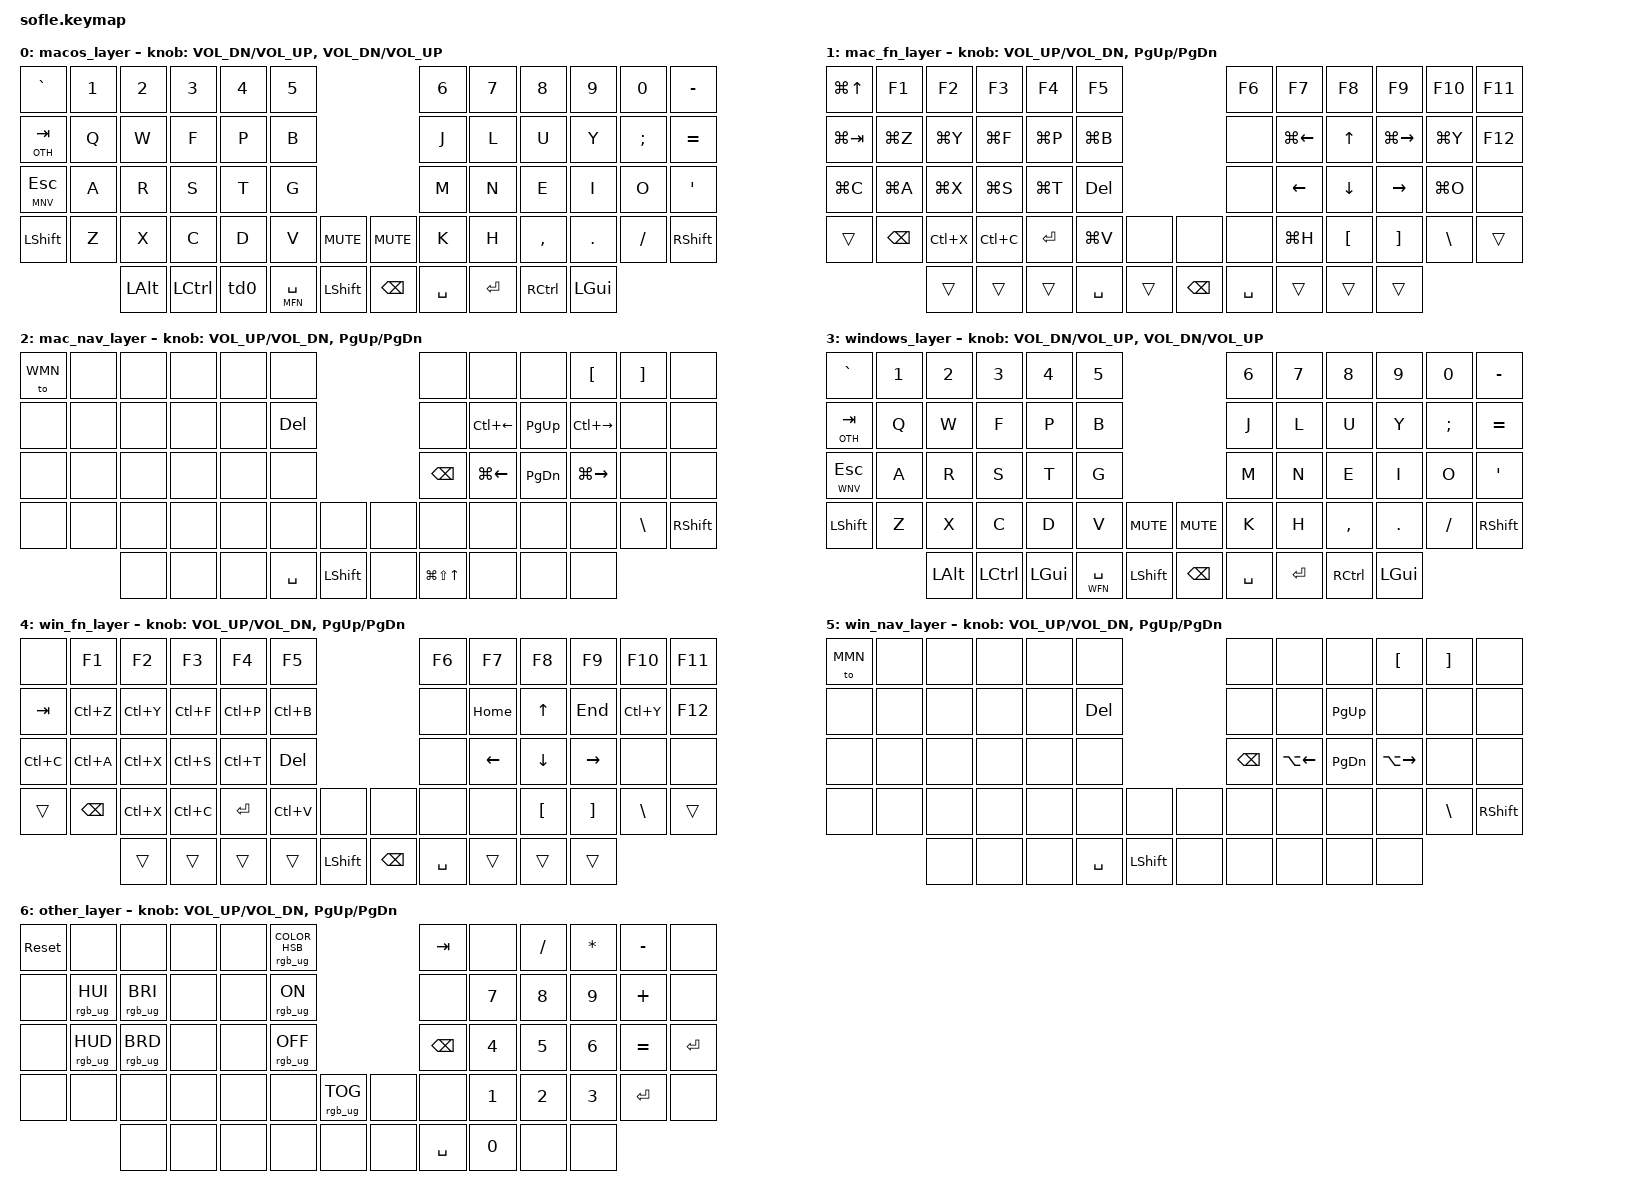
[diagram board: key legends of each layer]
/*
 * Copyright (c) 2020 The ZMK Contributors
 *
 * SPDX-License-Identifier: MIT
 */

#include <behaviors.dtsi>
#include <dt-bindings/zmk/keys.h>
#include <dt-bindings/zmk/bt.h>
#include <dt-bindings/zmk/ext_power.h>
#include <dt-bindings/zmk/rgb.h>

//                <&mo 1>,
//                <&kp SPACE>;

// ----- Notes -------
// Mod tap   = &mt LSHFT SPACE  (shift when held, space when tapped)
// Layer tap = &lt 3 TAB        (layer 3 when held, tab otherwise)


#define MO_TOG(layer) &mo_tog layer layer   // Macro to apply momentary-layer-on-hold/toggle-layer-on-tap to a specific layer

#define MMN 0  // Mac main
#define MFN 1  // Mac functions
#define MNV 2  // Mac navigation

#define WMN 3  // Windows main
#define WFN 4  // Windows functions
#define WNV 5  // Windows navigation

#define OTH 6  // Others functions

/ {
    behaviors {
        mo_tog: behavior_mo_tog {
            compatible = "zmk,behavior-hold-tap";
            #binding-cells = <2>;
            flavor = "hold-preferred";
            //flavor = "tap-unless-interrupted";
            tapping-term-ms = <200>;
            bindings = <&mo>, <&kp>;
        };
        td0: tap_dance_0 {
            compatible = "zmk,behavior-tap-dance";
            #binding-cells = <0>;
            tapping-term-ms = <250>;
            bindings =
              <&kp LGUI>,
              <&kp LC(UP)>;
        };
    };
    keymap {
        compatible = "zmk,keymap";



//----------------------------------------------------------------------------------------------------------------------------------------------------------------------
//----------------------------------------------------------------------------------------------------------------------------------------------------------------------
//----------------------------------------------------------------------------------------------------------------------------------------------------------------------



        macos_layer {
//                                               -------------------------------- Layer 0 - MacOS ------------------------------
//                       .-----------------------------------------------.                                 .-----------------------------------------------.
//                       |  `    |   1   |   2   |   3   |   4   |   5   |                                 |  6    |  7    |  8    |   9   |   0   |  -/_  |
//                       |-------+-------+-------+-------+-------+-------|                                 |-------+-------+-------+-------+-------+-------|
//                       | L5/TB |   Q   |   W   |   F   |   P   |  B    |                                 |  J    |   L   |   U   |   Y   |   ;   |  +/=  |
//                       |-------+-------+-------+-------+-------+-------|                                 |-------+-------+-------+-------+-------+-------|
//                       | L4/MC |   A   |   R   |   S   |   T   |  G    | .------.               .------. |  M    |   N   |   E   |   I   |   O   |   '   |
//                       |-------+-------+-------+-------+-------+-------| | MUTE |               | MUTE | |-------+-------+-------+-------+-------+-------|
//                       | SHIFT |   Z   |   X   |   C   |   D   |  V    | '------'               '------' |  K    |   H   |   ,   |   .   |   /   | SHIFT |
//                       '-------+-------+-------+-------+-------+-------+---------.            .----------+-------+-------+-------+-------+-------+-------'
//                                       |  ALT  |  CTRL |  GUI  |  MO4  |  SHIFT  /             \  BKSPC  | SPACE | ENTER |  CTR  |  GUI  |
//                                       |       |       |  MCTR | SPACE |        /               \        |       |       |       |       |
//                                       '---------------------------------------'                 '---------------------------------------'
            bindings = <
&kp GRAVE     &kp N1   &kp N2       &kp N3       &kp N4        &kp N5                                           &kp N6          &kp N7        &kp N8       &kp N9       &kp N0       &kp MINUS
&lt OTH TAB   &kp Q    &kp W        &kp F        &kp P         &kp B                                            &kp J           &kp L         &kp U        &kp Y        &kp SEMI     &kp EQL
&lt MNV ESC   &kp A    &kp R        &kp S        &kp T         &kp G                                            &kp M           &kp N         &kp E        &kp I        &kp O        &kp SQT
&kp LSHFT     &kp Z    &kp X        &kp C        &kp D         &kp V              &kp C_MUTE       &kp C_MUTE   &kp K           &kp H         &kp COMMA    &kp DOT      &kp FSLH     &kp RSHFT
                       &kp LALT     &kp LCTRL    &td0          &mo_tog MFN SPACE  &kp LSHFT        &kp BSPC     &kp SPACE       &kp ENTER     &kp RCTRL    &kp LGUI
            >;

            sensor-bindings = <&inc_dec_kp C_VOL_DN C_VOL_UP &inc_dec_kp C_VOL_DN C_VOL_UP>;
        };


        mac_fn_layer {
//                                           -------------------------------- Layer 1 - MacOS Functions ------------------------------
//                       .-----------------------------------------------.                                 .-----------------------------------------------.
//                       | MCTRL |  FN1  |  FN2  |  FN3  |  FN4  |  FN5  |                                 |  FN6  |  FN7  |  FN8  |  FN9  |  FN10 | FN11  |
//                       |-------+-------+-------+-------+-------+-------|                                 |-------+-------+-------+-------+-------+-------|
//                       | G-TAB |  UNDO |  REDO |  C-F  |  C-P  |  C-B  |                                 |       |  HOME |   ^   |  END  |  REDO | FN12  |
//                       |-------+-------+-------+-------+-------+-------|                                 |-------+-------+-------+-------+-------+-------|
//                       |  CPY  | CTR-A |  CUT  |  SAVE | N-TAB |  DEL  | .------.               .------. |       |  <-   |   v   |   ->  |  C-O  | ENTER |
//                       |-------+-------+-------+-------+-------+-------| |      |               |      | |-------+-------+-------+-------+-------+-------|
//                       | SHIFT | BKSPC | CTR-X | CTR-C | ENTER | PASTE | '------'               '------' |       |  C-H  |  [/{  |  ]/}  |  \ |  |       |
//                       '-------+-------+-------+-------+-------+-------+---------.            .----------+-------+-------+-------+-------+-------+-------'
//                                       |  ALT  |  GUI  |  CTRL |       |  SHIFT  /             \  BKSPC  |       |       |       |       |
//                                       |       |       |       |       |        /               \        |       |       |       |       |
//                                       '---------------------------------------'                 '---------------------------------------'
            bindings = <
&kp LG(UP)  &kp F1       &kp F2       &kp F3         &kp F4       &kp F5                                        &kp F6       &kp F7       &kp F8          &kp F9        &kp F10     &kp F11
&kp LG(TAB) &kp LG(Z)    &kp LG(Y)    &kp LG(F)      &kp LG(P)    &kp LG(B)                                     &none        &kp LG(LEFT) &kp UP          &kp LG(RIGHT) &kp LG(Y)   &kp F12
&kp LG(C)   &kp LG(A)    &kp LG(X)    &kp LG(S)      &kp LG(T)    &kp DEL                                       &none        &kp LEFT     &kp DOWN        &kp RIGHT     &kp LG(O)   &none
&trans      &kp BSPC     &kp LC(X)    &kp LC(C)      &kp ENTER    &kp LG(V)    &none                  &none     &none        &kp LG(H)    &kp LBKT        &kp RBKT      &kp BSLH    &trans
                         &trans       &trans         &trans       &kp SPACE    &trans                 &kp BSPC  &kp SPACE    &trans       &trans          &trans
            >;

            sensor-bindings = <&inc_dec_kp C_VOL_UP C_VOL_DN &inc_dec_kp PG_UP PG_DN>;
        };


        mac_nav_layer {
//                                              -------------------------------- Layer 2 - MacOS Navigation ------------------------------
//                       .-----------------------------------------------.                                 .-----------------------------------------------.
//                       |  WIN  |       |       |       |       |       |                                 |       |       |       |  [/{  |  ]/}  |       |
//                       |-------+-------+-------+-------+-------+-------|                                 |-------+-------+-------+-------+-------+-------|
//                       |       |       |       |       |       |  DEL  |                                 |       | WSP-L |  PGu  | WSP-R |       |       |
//                       |-------+-------+-------+-------+-------+-------|                                 |-------+-------+-------+-------+-------+-------|
//                       |       |       |       |       |       |       | .------.               .------. | BKSPC |  BACK |  PGd  |  FWD  |       |       |
//                       |-------+-------+-------+-------+-------+-------| |      |               |      | |-------+-------+-------+-------+-------+-------|
//                       |       |       |       |       |       |       | '------'               '------' |       |       |       |       |   \   | SHIFT |
//                       '-------+-------+-------+-------+-------+-------+---------.            .----------+-------+-------+-------+-------+-------+-------'
//                                       |       |       |       | SPACE |  SHIFT  /             \         | MCTR  |       |       |       |
//                                       |       |       |       |       |        /               \        |       |       |       |       |
//                                       '---------------------------------------'                 '---------------------------------------'

            bindings = <
&to WMN     &none        &none        &none          &none        &none                                         &none          &none        &none           &kp LBKT      &kp RBKT    &none
&none       &none        &none        &none          &none        &kp DEL                                       &none          &kp LC(LEFT) &kp PG_UP       &kp LC(RIGHT) &none       &none
&none       &none        &none        &none          &none        &none                                         &kp BSPC       &kp LG(LEFT) &kp PG_DN       &kp LG(RIGHT) &none       &none
&none       &none        &none        &none          &none        &none        &none                  &none     &none          &none        &none           &none         &kp BSLH    &kp RSHFT
                         &none        &none          &none        &kp SPACE    &kp LSHFT              &none     &kp LG(LS(UP)) &none        &none           &none
            >;

            sensor-bindings = <&inc_dec_kp C_VOL_UP C_VOL_DN &inc_dec_kp PG_UP PG_DN>;
        };


//----------------------------------------------------------------------------------------------------------------------------------------------------------------------
//----------------------------------------------------------------------------------------------------------------------------------------------------------------------
//----------------------------------------------------------------------------------------------------------------------------------------------------------------------


        windows_layer {
//                                               -------------------------------- Layer 3 - Windows ------------------------------
//                       .-----------------------------------------------.                                 .-----------------------------------------------.
//                       |  `    |   1   |   2   |   3   |   4   |   5   |                                 |  6    |  7    |  8    |   9   |   0   |  -/_  |
//                       |-------+-------+-------+-------+-------+-------|                                 |-------+-------+-------+-------+-------+-------|
//                       | L6/TB |   Q   |   W   |   F   |   P   |  B    |                                 |  J    |   L   |   U   |   Y   |   ;   |  +/=  |
//                       |-------+-------+-------+-------+-------+-------|                                 |-------+-------+-------+-------+-------+-------|
//                       | L2/ESC|   A   |   R   |   S   |   T   |  G    | .------.               .------. |  M    |  N    |   E   |   I   |   O   |   '   |
//                       |-------+-------+-------+-------+-------+-------| | MUTE |               | MUTE | |-------+-------+-------+-------+-------+-------|
//                       | SHIFT |   Z   |   X   |   C   |   D   |  V    | '------'               '------' |  K    |  H    |   ,   |   .   |   /   | SHIFT |
//                       '-------+-------+-------+-------+-------+-------+---------.            .----------+-------+-------+-------+-------+-------+-------'
//                                       |  ALT  |  CTRL |  GUI  |  MO1  |  SHIFT  /             \  BKSPC  | SPACE | ENTER |  CTR  |  GUI  |
//                                       |       |       |       | SPACE |        /               \        |       |       |       |       |
//                                       '---------------------------------------'                 '---------------------------------------'
            bindings = <
&kp GRAVE     &kp N1   &kp N2       &kp N3       &kp N4        &kp N5                                           &kp N6          &kp N7        &kp N8       &kp N9       &kp N0       &kp MINUS
&lt OTH TAB   &kp Q    &kp W        &kp F        &kp P         &kp B                                            &kp J           &kp L         &kp U        &kp Y        &kp SEMI     &kp EQL
&lt WNV ESC   &kp A    &kp R        &kp S        &kp T         &kp G                                            &kp M           &kp N         &kp E        &kp I        &kp O        &kp SQT
&kp LSHFT     &kp Z    &kp X        &kp C        &kp D         &kp V          &kp C_MUTE           &kp C_MUTE   &kp K           &kp H         &kp COMMA    &kp DOT      &kp FSLH     &kp RSHFT
                       &kp LALT     &kp LCTRL    &kp LGUI      &lt WFN SPACE  &kp LSHFT            &kp BSPC     &kp SPACE       &kp ENTER     &kp RCTRL    &kp LGUI
            >;

            sensor-bindings = <&inc_dec_kp C_VOL_DN C_VOL_UP &inc_dec_kp C_VOL_DN C_VOL_UP>;
        };



        win_fn_layer {
//                                           -------------------------------- Layer 4 - Windows Functions ------------------------------
//                       .-----------------------------------------------.                                 .-----------------------------------------------.
//                       |  ESC  |  FN1  |  FN2  |  FN3  |  FN4  |  FN5  |                                 |  FN6  |  FN7  |  FN8  |  FN9  |  FN10 | FN11  |
//                       |-------+-------+-------+-------+-------+-------|                                 |-------+-------+-------+-------+-------+-------|
//                       |  TAB  |  UNDO |  REDO |  C-F  |  C-P  |  C-B  |                                 |       |  HOME |   ^   |  END  |  REDO | FN12  |
//                       |-------+-------+-------+-------+-------+-------|                                 |-------+-------+-------+-------+-------+-------|
//                       |  CPY  | CTR-A |  CUT  |  SAVE | N-TAB |  DEL  | .------.               .------. |       |  <-   |   v   |   ->  |       | ENTER |
//                       |-------+-------+-------+-------+-------+-------| |      |               |      | |-------+-------+-------+-------+-------+-------|
//                       | SHIFT | BKSPC | CTR-X | CTR-C | ENTER | PASTE | '------'               '------' |       |       |  [/{  |  ]/}  |  \ |  |       |
//                       '-------+-------+-------+-------+-------+-------+---------.            .----------+-------+-------+-------+-------+-------+-------'
//                                       |  ALT  |  GUI  |  CTRL |       |  SHIFT  /             \  BKSPC  |       |       |       |       |
//                                       |       |       |       |       |        /               \        |       |       |       |       |
//                                       '---------------------------------------'                 '---------------------------------------'
            bindings = <
&none       &kp F1       &kp F2       &kp F3         &kp F4       &kp F5                                        &kp F6       &kp F7      &kp F8          &kp F9      &kp F10     &kp F11
&kp TAB     &kp LC(Z)    &kp LC(Y)    &kp LC(F)      &kp LC(P)    &kp LC(B)                                     &none        &kp HOME    &kp UP          &kp END     &kp LC(Y)   &kp F12
&kp LC(C)   &kp LC(A)    &kp LC(X)    &kp LC(S)      &kp LC(T)    &kp DEL                                       &none        &kp LEFT    &kp DOWN        &kp RIGHT   &none       &none
&trans      &kp BSPC     &kp LC(X)    &kp LC(C)      &kp ENTER    &kp LC(V)    &none                  &none     &none        &none       &kp LBKT        &kp RBKT    &kp BSLH    &trans
                         &trans       &trans         &trans       &trans       &kp LSHFT              &kp BSPC  &kp SPACE    &trans      &trans          &trans
            >;

            sensor-bindings = <&inc_dec_kp C_VOL_UP C_VOL_DN &inc_dec_kp PG_UP PG_DN>;
        };



        win_nav_layer {
//                                              -------------------------------- Layer 5 - Windows Navigation ------------------------------
//                       .-----------------------------------------------.                                 .-----------------------------------------------.
//                       | MACOS |       |       |       |       |       |                                 |       |       |       |  [/{  |  ]/}  |       |
//                       |-------+-------+-------+-------+-------+-------|                                 |-------+-------+-------+-------+-------+-------|
//                       |       |       |       |       |       |  DEL  |                                 |       |       |  PGu  |       |       |       |
//                       |-------+-------+-------+-------+-------+-------|                                 |-------+-------+-------+-------+-------+-------|
//                       |       |       |       |       |       |       | .------.               .------. | BKSPC |  BACK |  PGd  |  FWD  |       |       |
//                       |-------+-------+-------+-------+-------+-------| |      |               |      | |-------+-------+-------+-------+-------+-------|
//                       |       |       |       |       |       |       | '------'               '------' |       |       |       |       |   \   | SHIFT |
//                       '-------+-------+-------+-------+-------+-------+---------.            .----------+-------+-------+-------+-------+-------+-------'
//                                       |       |       |       | SPACE |  SHIFT  /             \         |       |       |       |       |
//                                       |       |       |       |       |        /               \        |       |       |       |       |
//                                       '---------------------------------------'                 '---------------------------------------'

            bindings = <
&to MMN     &none        &none        &none          &none        &none                                         &none        &none        &none           &kp LBKT      &kp RBKT    &none
&none       &none        &none        &none          &none        &kp DEL                                       &none        &none        &kp PG_UP       &none         &none       &none
&none       &none        &none        &none          &none        &none                                         &kp BSPC     &kp LA(LEFT) &kp PG_DN       &kp LA(RIGHT) &none       &none
&none       &none        &none        &none          &none        &none        &none                  &none     &none        &none        &none           &none         &kp BSLH    &kp RSHFT
                         &none        &none          &none        &kp SPACE    &kp LSHFT              &none     &none        &none        &none           &none
            >;

            sensor-bindings = <&inc_dec_kp C_VOL_UP C_VOL_DN &inc_dec_kp PG_UP PG_DN>;
        };


//----------------------------------------------------------------------------------------------------------------------------------------------------------------------
//----------------------------------------------------------------------------------------------------------------------------------------------------------------------
//----------------------------------------------------------------------------------------------------------------------------------------------------------------------

        other_layer {
//                                        -------------------------------- Layer 6 - NUMPAD + Keyboard Fns ------------------------------
//                       .-----------------------------------------------.                                 .-----------------------------------------------.
//                       | RESET |       |       |       |       |  RGB  |                                 |       |  tab  |   /   |   *   |   -   |       |
//                       |-------+-------+-------+-------+-------+-------|                                 |-------+-------+-------+-------+-------+-------|
//                       |       |  BR+  | HUE+  |       |       | RGBON |                                 |       |   7   |   8   |   9   |   +   |       |
//                       |-------+-------+-------+-------+-------+-------|                                 |-------+-------+-------+-------+-------+-------|
//                       |       |  BR-  | HUE-  |       |       | RGBOF | .------.               .------. | BKSPC |   4   |   5   |   6   |   =   | ENTER |
//                       |-------+-------+-------+-------+-------+-------| | RGB  |               |      | |-------+-------+-------+-------+-------+-------|
//                       |       |       |       |       |       |       | '------'               '------' |       |   1   |   2   |   3   | ENTER |       |
//                       '-------+-------+-------+-------+-------+-------+---------.            .----------+-------+-------+-------+-------+-------+-------'
//                                       |       |       |       |       |         /             \         | SPACE |   0   |   ,   |   .   |
//                                       |       |       |       |       |        /               \        |       |       |       |       |
//                                       '---------------------------------------'                 '---------------------------------------'
            bindings = <
&sys_reset  &none            &none           &none     &none        &rgb_ug RGB_COLOR_HSB(128,100,100)                   &kp TAB       &none        &kp FSLH   &kp STAR      &kp MINUS        &none
&none       &rgb_ug RGB_HUI  &rgb_ug RGB_BRI &none     &none        &rgb_ug RGB_ON                                       &none         &kp N7       &kp N8     &kp N9        &kp PLUS         &none
&none       &rgb_ug RGB_HUD  &rgb_ug RGB_BRD &none     &none        &rgb_ug RGB_OFF                                      &kp BSPC      &kp N4       &kp N5     &kp N6        &kp EQL          &kp ENTER
&none       &none            &none           &none     &none        &none            &rgb_ug RGB_TOG           &none     &none         &kp N1       &kp N2     &kp N3        &kp ENTER        &none
                             &none           &none     &none        &none            &none                     &none     &kp SPACE     &kp N0       &none      &none
            >;

            sensor-bindings = <&inc_dec_kp C_VOL_UP C_VOL_DN &inc_dec_kp PG_UP PG_DN>;
        };
    };
};




//                                                 -------------------------------- TEMPLATE ------------------------------
//                       .-----------------------------------------------.                                 .-----------------------------------------------.
//                       |       |       |       |       |       |       |                                 |       |       |       |       |       |       |
//                       |-------+-------+-------+-------+-------+-------|                                 |-------+-------+-------+-------+-------+-------|
//                       |       |       |       |       |       |       |                                 |       |       |       |       |       |       |
//                       |-------+-------+-------+-------+-------+-------|                                 |-------+-------+-------+-------+-------+-------|
//                       |       |       |       |       |       |       | .------.               .------. |       |       |       |       |       |       |
//                       |-------+-------+-------+-------+-------+-------| |      |               |      | |-------+-------+-------+-------+-------+-------|
//                       |       |       |       |       |       |       | '------'               '------' |       |       |       |       |       |       |
//                       '-------+-------+-------+-------+-------+-------+---------.            .----------+-------+-------+-------+-------+-------+-------'
//                                       |       |       |       |       |         /             \         |       |       |       |       |
//                                       |       |       |       |       |        /               \        |       |       |       |       |
//                                       '---------------------------------------'                 '---------------------------------------'


//  &none       &none        &none        &none          &none        &none                                         &none        &none       &none           &none       &none       &none
//  &none       &none        &none        &none          &none        &none                                         &none        &none       &none           &none       &none       &none
//  &none       &none        &none        &none          &none        &none                                         &none        &none       &none           &none       &none       &none
//  &none       &none        &none        &none          &none        &none        &none                  &none     &none        &none       &none           &none       &none       &none
//                           &none        &none          &none        &none        &none                  &none     &none        &none       &none           &none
